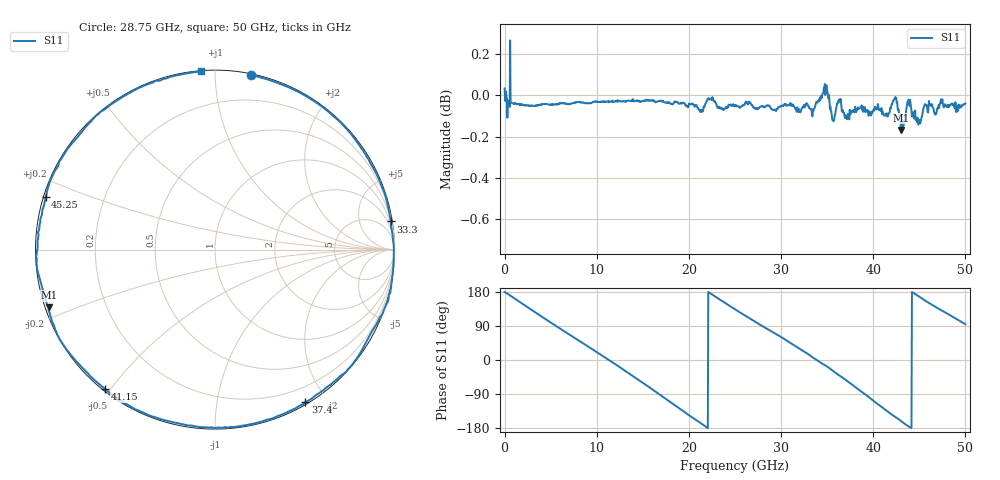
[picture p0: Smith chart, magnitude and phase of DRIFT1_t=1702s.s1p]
!Created with skrf (http://scikit-rf.org).
# Hz S RI R 50.0
!freq ReS11 ImS11
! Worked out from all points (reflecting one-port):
!   1001 points, 300 kHz to 50 GHz, reference 50 ohm
!   lowest |S11| = -0.2 dB at 43 GHz (marker M1), VSWR 103.23, Z = 0.498 - j8.41 ohm
!   phase of S11 starts at 179 deg and turns -805 deg over the sweep
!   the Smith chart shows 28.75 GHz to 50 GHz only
!   S11 on the Smith chart (normalised r, x): 28.75 GHz: 0.01, +1.23; 33.3 GHz: 1, +13; 37.4 GHz: 0.03, -1.75; 41.15 GHz: 0.01, -0.49; 45.25 GHz: 0.01, +0.15; 50 GHz: 0.00, +0.92
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300000  -1.004 0.0137
1.70029e9  -0.8802 0.4642
3.550279e9  -0.5284 0.8424
6.250262e9  0.1852 0.9781
7.900253e9  0.5924 0.8011
9.700242e9  0.8984 0.4311
1.250022e10  0.9417 -0.3263
1.400022e10  0.7236 -0.6863
1.58502e10  0.2683 -0.9605
1.72502e10  -0.1457 -0.9858
1.875019e10  -0.559 -0.8248
2.030018e10  -0.8684 -0.4865
2.190017e10  -0.9953 -0.0505
2.500015e10  -0.6871 0.7188
2.685014e10  -0.2748 0.9557
2.875013e10  0.1996 0.9739
3.125011e10  0.7448 0.6583
3.33001e10  0.98 0.1571
3.515009e10  0.9388 -0.3394
3.740008e10  0.5026 -0.8491
3.750008e10  0.4753 -0.8677
3.930006e10  -0.0639 -0.989
4.115005e10  -0.6118 -0.7769
4.300004e10  -0.9268 -0.3208
4.375004e10  -0.9913 -0.1051
4.525003e10  -0.9433 0.2935
4.745002e10  -0.6455 0.7591
5e10  -0.0779 0.9924
